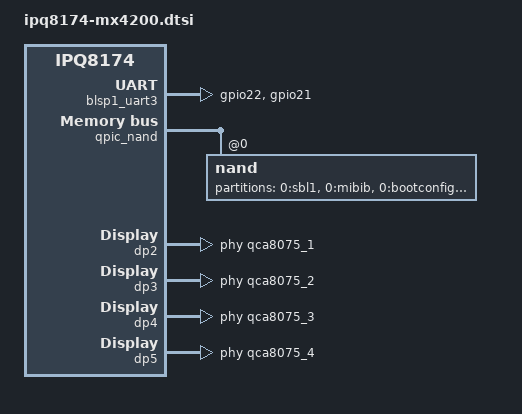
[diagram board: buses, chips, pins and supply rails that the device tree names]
// SPDX-License-Identifier: GPL-2.0-or-later OR MIT
/* Copyright (c) 2023, Mohammad Sayful Islam <Sayf.mohammad01@gmail.com> */

#include "ipq8174-mx4x00.dtsi"

&tlmm {
	iot_pins: iot-state {
		recovery-pins {
			pins = "gpio22";
			function = "gpio";
			input;
		};

		reset-pins {
			pins = "gpio21";
			function = "gpio";
			bias-pull-up;
		};
	};
};

&blsp1_uart3 {
	status = "okay";

	pinctrl-0 = <&hsuart_pins &iot_pins>;
	pinctrl-names = "default";

	/* Silicon Labs EFR32MG21 IoT */
};

&qpic_nand {
	status = "okay";

	/*
	 * Bootloader will find the NAND DT node by the compatible and
	 * then "fixup" it by adding the partitions from the SMEM table
	 * using the legacy bindings thus making it impossible for us
	 * to change the partition table or utilize NVMEM for calibration.
	 * So add a dummy partitions node that bootloader will populate
	 * and set it as disabled so the kernel ignores it instead of
	 * printing warnings due to the broken way bootloader adds the
	 * partitions.
	 */
	partitions {
		status = "disabled";
	};

	nand@0 {
		reg = <0>;
		nand-ecc-strength = <4>;
		nand-ecc-step-size = <512>;
		nand-bus-width = <8>;

		partitions {
			compatible = "fixed-partitions";
			#address-cells = <1>;
			#size-cells = <1>;

			partition@0 {
				label = "0:sbl1";
				reg = <0x0 0x100000>;
				read-only;
			};

			partition@100000 {
				label = "0:mibib";
				reg = <0x100000 0x100000>;
				read-only;
			};

			partition@200000 {
				label = "0:bootconfig";
				reg = <0x200000 0x80000>;
				read-only;
			};

			partition@280000 {
				label = "0:bootconfig1";
				reg = <0x280000 0x80000>;
				read-only;
			};

			partition@300000 {
				label = "0:qsee";
				reg = <0x300000 0x300000>;
				read-only;
			};

			partition@600000 {
				label = "0:qsee_1";
				reg = <0x600000 0x300000>;
				read-only;
			};

			partition@900000 {
				label = "0:devcfg";
				reg = <0x900000 0x80000>;
				read-only;
			};

			partition@980000 {
				label = "0:devcfg_1";
				reg = <0x980000 0x80000>;
				read-only;
			};

			partition@a00000 {
				label = "0:apdp";
				reg = <0xa00000 0x80000>;
				read-only;
			};

			partition@a80000 {
				label = "0:apdp_1";
				reg = <0xa80000 0x80000>;
				read-only;
			};

			partition@b00000 {
				label = "0:rpm";
				reg = <0xb00000 0x80000>;
				read-only;
			};

			partition@b80000 {
				label = "0:rpm_1";
				reg = <0xb80000 0x80000>;
				read-only;
			};

			partition@c00000 {
				label = "0:cdt";
				reg = <0xc00000 0x80000>;
				read-only;
			};

			partition@c80000 {
				label = "0:cdt_1";
				reg = <0xc80000 0x80000>;
				read-only;
			};

			partition@d00000 {
				label = "0:appsblenv";
				reg = <0xd00000 0x80000>;
			};

			partition@d80000 {
				label = "0:appsbl";
				reg = <0xd80000 0x100000>;
				read-only;
			};

			partition@e80000 {
				label = "0:appsbl_1";
				reg = <0xe80000 0x100000>;
				read-only;
			};

			partition@f80000 {
				label = "0:art";
				reg = <0xf80000 0x80000>;
				read-only;
			};

			partition@1000000 {
				label = "u_env";
				reg = <0x1000000 0x40000>;
			};

			partition@1040000 {
				label = "s_env";
				reg = <0x1040000 0x20000>;
			};

			partition@1060000 {
				label = "devinfo";
				reg = <0x1060000 0x20000>;
				read-only;

				nvmem-layout {
					compatible = "ascii-eq-delim-env";

					hw_mac_addr: hw_mac_addr {
						compatible = "mac-base";
						#nvmem-cell-cells = <1>;
					};
				};
			};

			partition@1080000 {
				label = "kernel";
				reg = <0x1080000 0x9600000>;
			};

			partition@1680000 {
				label = "rootfs";
				reg = <0x1680000 0x9000000>;
			};

			partition@a680000 {
				label = "alt_kernel";
				reg = <0xa680000 0x9600000>;
			};

			partition@ac80000 {
				label = "alt_rootfs";
				reg = <0xac80000 0x9000000>;
			};

			partition@13c80000 {
				label = "sysdiag";
				reg = <0x13c80000 0x200000>;
				read-only;
			};

			partition@13e80000 {
				label = "0:ethphyfw";
				reg = <0x13e80000 0x80000>;
				read-only;
			};

			partition@13f00000 {
				label = "syscfg";
				reg = <0x13f00000 0xb800000>;
				read-only;
			};

			partition@1f700000 {
				label = "0:wififw";
				reg = <0x1f700000 0x900000>;
				read-only;
			};
		};
	};
};

&dp2 {
	status = "okay";
	phy-handle = <&qca8075_1>;
	label = "wan";
};

&dp3 {
	status = "okay";
	phy-handle = <&qca8075_2>;
	label = "lan1";
};

&dp4 {
	status = "okay";
	phy-handle = <&qca8075_3>;
	label = "lan2";
};

&dp5 {
	status = "okay";
	phy-handle = <&qca8075_4>;
	label = "lan3";
};
